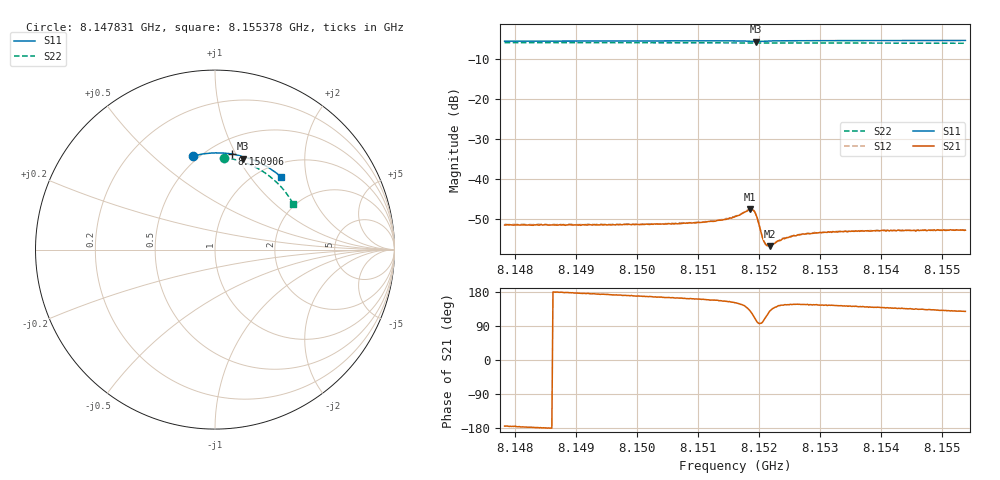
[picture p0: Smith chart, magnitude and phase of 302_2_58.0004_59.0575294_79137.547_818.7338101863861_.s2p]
#  HZ  S  RI  R  50.00
! Rohde & Schwarz Vector Network Analyzer
! Rohde-Schwarz,ZNB20-2Port,1311601062101988,3.16
! Created: UTC 3/21/2024, 1:03:50 AM
! freq[Hz]  re:S11  im:S11  re:S21  im:S21  re:S12  im:S12  re:S22  im:S22
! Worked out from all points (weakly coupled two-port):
!   401 points, 8.147831 GHz to 8.155378 GHz, reference 50 ohm
!   highest |S21| = -47.71 dB at 8.151849 GHz (marker M1); lowest = -56.9 dB at 8.15217 GHz (marker M2)
!   lowest |S11| = -5.5 dB at 8.151944 GHz (marker M3), VSWR 3.25, Z = 37.2 + j52.4 ohm
!   |S11| at or under -10 dB: nowhere
!   |S22| runs from -5.9 to -5.8 dB; largest |S21 - S12| = 0.00013
!   S11 on the Smith chart (normalised r, x): 8.147831 GHz: 0.47, +0.68; 8.150906 GHz: 0.64, +0.96; 8.155378 GHz: 1.24, +1.43
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8.1478306e9  -0.1211 0.5218  -0.00261 -0.000253  -0.00266 -0.000226  0.0476 0.5126
8.1490947e9  -0.0342 0.5368  -0.00262 0.000175  -0.00266 0.00023  0.1288 0.4969
8.1503588e9  0.0539 0.5374  -0.00262 0.000637  -0.00262 0.000695  0.2058 0.4688
8.150906e9  0.092 0.5329  -0.00264 0.000881  -0.00263 0.000951  0.2371 0.4529
8.1512833e9  0.1185 0.5282  -0.00272 0.00111  -0.0027 0.00121  0.2582 0.4407
8.1516041e9  0.1417 0.5218  -0.00293 0.00162  -0.00295 0.00167  0.2755 0.4294
8.1518494e9  0.1584 0.5106  -0.00265 0.00315  -0.00263 0.00317  0.2882 0.4202
8.151906e9  0.1585 0.5065  -0.00178 0.00362  -0.00174 0.00362  0.2911 0.418
8.1519437e9  0.1573 0.5057  -0.000986 0.00345  -0.000961 0.0035  0.293 0.4167
8.1519814e9  0.1566 0.5072  -0.000411 0.00292  -0.000385 0.00291  0.2947 0.4153
8.152038e9  0.1588 0.5103  -0.000256 0.00201  -0.000257 0.002  0.2977 0.4133
8.1520758e9  0.1616 0.5116  -0.000428 0.00158  -0.0004 0.00162  0.2997 0.4119
8.1520946e9  0.1632 0.512  -0.000523 0.00147  -0.000482 0.00144  0.3008 0.4114
8.1521324e9  0.1664 0.5123  -0.000689 0.00126  -0.000709 0.00126  0.3025 0.4098
8.1521701e9  0.1696 0.5123  -0.000888 0.00112  -0.000877 0.00112  0.3045 0.4085
8.1523776e9  0.1857 0.5092  -0.00143 0.00101  -0.00144 0.00106  0.3151 0.4
8.1524908e9  0.1939 0.5069  -0.00153 0.00104  -0.00155 0.00104  0.3205 0.3953
8.1526795e9  0.2066 0.5025  -0.00165 0.0011  -0.00165 0.00112  0.3296 0.3875
8.1528682e9  0.219 0.4975  -0.00169 0.00118  -0.00172 0.0012  0.3386 0.3794
8.1531701e9  0.2386 0.489  -0.00175 0.00126  -0.00174 0.00126  0.3524 0.3661
8.1541323e9  0.2974 0.4576  -0.00162 0.00149  -0.00166 0.00152  0.3925 0.3201
8.1553776e9  0.3665 0.4065  -0.0014 0.00177  -0.00143 0.00178  0.4357 0.2547
